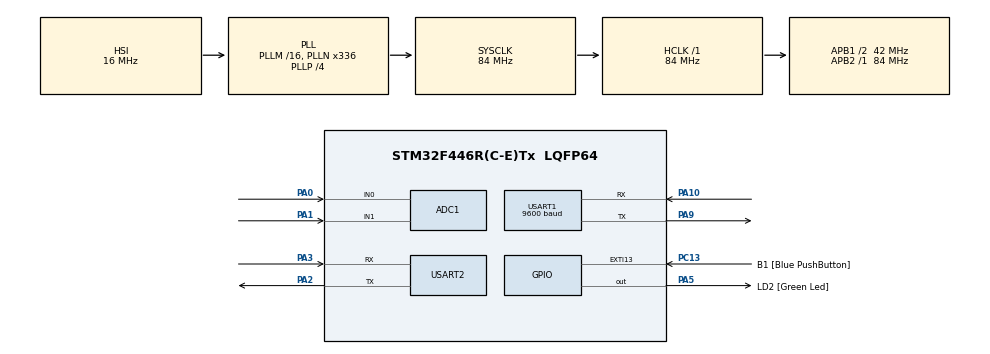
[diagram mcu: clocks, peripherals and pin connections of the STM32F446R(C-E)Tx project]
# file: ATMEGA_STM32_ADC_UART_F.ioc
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ADC1.Channel-0\#ChannelRegularConversion=ADC_CHANNEL_0
ADC1.Channel-1\#ChannelRegularConversion=ADC_CHANNEL_1
ADC1.ClockPrescaler=ADC_CLOCK_SYNC_PCLK_DIV8
ADC1.ContinuousConvMode=ENABLE
ADC1.DMAContinuousRequests=ENABLE
ADC1.EOCSelection=ADC_EOC_SEQ_CONV
ADC1.NbrOfConversion=2
ADC1.NbrOfConversionFlag=1
ADC1.Rank-0\#ChannelRegularConversion=1
ADC1.Rank-1\#ChannelRegularConversion=2
ADC1.SamplingTime-0\#ChannelRegularConversion=ADC_SAMPLETIME_3CYCLES
ADC1.SamplingTime-1\#ChannelRegularConversion=ADC_SAMPLETIME_3CYCLES
ADC1.master=1
Dma.ADC1.0.Direction=DMA_PERIPH_TO_MEMORY
Dma.ADC1.0.FIFOMode=DMA_FIFOMODE_DISABLE
Dma.ADC1.0.Instance=DMA2_Stream0
Dma.ADC1.0.MemDataAlignment=DMA_MDATAALIGN_HALFWORD
Dma.ADC1.0.MemInc=DMA_MINC_ENABLE
Dma.ADC1.0.Mode=DMA_CIRCULAR
Dma.ADC1.0.PeriphDataAlignment=DMA_PDATAALIGN_HALFWORD
Dma.ADC1.0.PeriphInc=DMA_PINC_DISABLE
Dma.ADC1.0.Priority=DMA_PRIORITY_LOW
Dma.Request0=ADC1
Mcu.Family=STM32F4
Mcu.Name=STM32F446R(C-E)Tx
Mcu.Package=LQFP64
NVIC.DMA2_Stream0_IRQn=true\:0\:0\:false\:false\:true\:false\:true\:true
NVIC.PriorityGroup=NVIC_PRIORITYGROUP_0
NVIC.USART1_IRQn=true\:0\:0\:false\:false\:true\:true\:true\:true
NVIC.USART2_IRQn=true\:0\:0\:false\:false\:true\:true\:true\:true
PA0-WKUP.Signal=ADCx_IN0
PA1.Signal=ADCx_IN1
PA10.Mode=Asynchronous
PA10.Signal=USART1_RX
PA13.GPIO_Label=TMS
PA13.Mode=Serial_Wire
PA13.Signal=SYS_JTMS-SWDIO
PA14.GPIO_Label=TCK
PA14.Mode=Serial_Wire
PA14.Signal=SYS_JTCK-SWCLK
PA2.Mode=Asynchronous
PA2.Signal=USART2_TX
PA3.Mode=Asynchronous
PA3.Signal=USART2_RX
PA5.GPIO_Label=LD2 [Green Led]
PA5.Signal=GPIO_Output
PA9.Mode=Asynchronous
PA9.Signal=USART1_TX
PB3.GPIO_Label=SWO
PB3.Signal=SYS_JTDO-SWO
PC13.GPIO_Label=B1 [Blue PushButton]
PC13.GPIO_ModeDefaultEXTI=GPIO_MODE_IT_FALLING
PC13.Signal=GPXTI13
PC14-OSC32_IN.Mode=LSE-External-Oscillator
PC14-OSC32_IN.Signal=RCC_OSC32_IN
PC15-OSC32_OUT.Mode=LSE-External-Oscillator
PC15-OSC32_OUT.Signal=RCC_OSC32_OUT
PH0-OSC_IN.Mode=HSE-External-Oscillator
PH0-OSC_IN.Signal=RCC_OSC_IN
PH1-OSC_OUT.Mode=HSE-External-Oscillator
PH1-OSC_OUT.Signal=RCC_OSC_OUT
ProjectManager.HeapSize=0x200
ProjectManager.StackSize=0x400
ProjectManager.TargetToolchain=STM32CubeIDE
RCC.48MHZClocksFreq_Value=84000000
RCC.AHBFreq_Value=84000000
RCC.APB1CLKDivider=RCC_HCLK_DIV2
RCC.APB1Freq_Value=42000000
RCC.APB1TimFreq_Value=84000000
RCC.APB2Freq_Value=84000000
RCC.APB2TimFreq_Value=84000000
RCC.CortexFreq_Value=84000000
RCC.FLatency-AdvancedSettings=FLASH_LATENCY_2
RCC.HCLKFreq_Value=84000000
RCC.HSE_VALUE=8000000
RCC.HSI_VALUE=16000000
RCC.PLLN=336
RCC.PLLP=RCC_PLLP_DIV4
RCC.SYSCLKFreq_VALUE=84000000
RCC.SYSCLKSource=RCC_SYSCLKSOURCE_PLLCLK
RCC.USBFreq_Value=168000000
RCC.VCOOutputFreq_Value=336000000
SH.ADCx_IN0.0=ADC1_IN0,IN0
SH.ADCx_IN1.0=ADC1_IN1,IN1
USART1.BaudRate=9600
USART1.VirtualMode=VM_ASYNC
USART2.VirtualMode=VM_ASYNC
board=NUCLEO-F446RE

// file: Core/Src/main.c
/* USER CODE BEGIN Header */
/**
  ******************************************************************************
  * @file           : main.c
  * @brief          : Main program body
  ******************************************************************************
  * @attention
  *
  * Copyright (c) 2026 STMicroelectronics.
  * All rights reserved.
  *
  * This software is licensed under terms that can be found in the LICENSE file
  * in the root directory of this software component.
  * If no LICENSE file comes with this software, it is provided AS-IS.
  *
  ******************************************************************************
  */
/* USER CODE END Header */
#include "main.h"

/* USER CODE BEGIN Includes */
#include "stdint.h"
#include <string.h>
#include <stdio.h>
/* USER CODE END Includes */

ADC_HandleTypeDef hadc1;
DMA_HandleTypeDef hdma_adc1;

UART_HandleTypeDef huart1;
UART_HandleTypeDef huart2;

/* USER CODE BEGIN PV */
char *Y;//variables
char *X;
uint16_t ADC_CONVERSION[2];
uint8_t temp;
uint8_t indx = 0;
uint8_t buffer[10];
/* USER CODE END PV */

void SystemClock_Config(void);
static void MX_GPIO_Init(void);
static void MX_DMA_Init(void);
static void MX_ADC1_Init(void);
static void MX_USART2_UART_Init(void);
static void MX_USART1_UART_Init(void);

int main(void)
{

  /* MCU Configuration--------------------------------------------------------*/

  /* Reset of all peripherals, Initializes the Flash interface and the Systick. */
  HAL_Init();

  /* Configure the system clock */
  SystemClock_Config();

  /* Initialize all configured peripherals */
  MX_GPIO_Init();
  MX_DMA_Init();
  MX_ADC1_Init();
  MX_USART2_UART_Init();
  MX_USART1_UART_Init();
  /* USER CODE BEGIN 2 */
  HAL_ADC_Start_DMA(&hadc1, (uint32_t *)ADC_CONVERSION, 2);
  HAL_UART_Receive_IT(&huart1, &temp , 1);
  /* USER CODE END 2 */

  /* Infinite loop */
  while (1)
  {

  }
}

void SystemClock_Config(void)
{
  RCC_OscInitTypeDef RCC_OscInitStruct = {0};
  RCC_ClkInitTypeDef RCC_ClkInitStruct = {0};

  /** Configure the main internal regulator output voltage
  */
  __HAL_RCC_PWR_CLK_ENABLE();
  __HAL_PWR_VOLTAGESCALING_CONFIG(PWR_REGULATOR_VOLTAGE_SCALE3);

  /** Initializes the RCC Oscillators according to the specified parameters
  * in the RCC_OscInitTypeDef structure.
  */
  RCC_OscInitStruct.OscillatorType = RCC_OSCILLATORTYPE_HSI;
  RCC_OscInitStruct.HSIState = RCC_HSI_ON;
  RCC_OscInitStruct.HSICalibrationValue = RCC_HSICALIBRATION_DEFAULT;
  RCC_OscInitStruct.PLL.PLLState = RCC_PLL_ON;
  RCC_OscInitStruct.PLL.PLLSource = RCC_PLLSOURCE_HSI;
  RCC_OscInitStruct.PLL.PLLM = 16;
  RCC_OscInitStruct.PLL.PLLN = 336;
  RCC_OscInitStruct.PLL.PLLP = RCC_PLLP_DIV4;
  RCC_OscInitStruct.PLL.PLLQ = 2;
  RCC_OscInitStruct.PLL.PLLR = 2;
  if (HAL_RCC_OscConfig(&RCC_OscInitStruct) != HAL_OK)
  {
    Error_Handler();
  }

  /** Initializes the CPU, AHB and APB buses clocks
  */
  RCC_ClkInitStruct.ClockType = RCC_CLOCKTYPE_HCLK|RCC_CLOCKTYPE_SYSCLK
                              |RCC_CLOCKTYPE_PCLK1|RCC_CLOCKTYPE_PCLK2;
  RCC_ClkInitStruct.SYSCLKSource = RCC_SYSCLKSOURCE_PLLCLK;
  RCC_ClkInitStruct.AHBCLKDivider = RCC_SYSCLK_DIV1;
  RCC_ClkInitStruct.APB1CLKDivider = RCC_HCLK_DIV2;
  RCC_ClkInitStruct.APB2CLKDivider = RCC_HCLK_DIV1;

  if (HAL_RCC_ClockConfig(&RCC_ClkInitStruct, FLASH_LATENCY_2) != HAL_OK)
  {
    Error_Handler();
  }
}

static void MX_ADC1_Init(void)
{

  ADC_ChannelConfTypeDef sConfig = {0};

  /** Configure the global features of the ADC (Clock, Resolution, Data Alignment and number of conversion)
  */
  hadc1.Instance = ADC1;
  hadc1.Init.ClockPrescaler = ADC_CLOCK_SYNC_PCLK_DIV8;
  hadc1.Init.Resolution = ADC_RESOLUTION_12B;
  hadc1.Init.ScanConvMode = ENABLE;
  hadc1.Init.ContinuousConvMode = ENABLE;
  hadc1.Init.DiscontinuousConvMode = DISABLE;
  hadc1.Init.ExternalTrigConvEdge = ADC_EXTERNALTRIGCONVEDGE_NONE;
  hadc1.Init.ExternalTrigConv = ADC_SOFTWARE_START;
  hadc1.Init.DataAlign = ADC_DATAALIGN_RIGHT;
  hadc1.Init.NbrOfConversion = 2;
  hadc1.Init.DMAContinuousRequests = ENABLE;
  hadc1.Init.EOCSelection = ADC_EOC_SEQ_CONV;
  if (HAL_ADC_Init(&hadc1) != HAL_OK)
  {
    Error_Handler();
  }

  /** Configure for the selected ADC regular channel its corresponding rank in the sequencer and its sample time.
  */
  sConfig.Channel = ADC_CHANNEL_0;
  sConfig.Rank = 1;
  sConfig.SamplingTime = ADC_SAMPLETIME_3CYCLES;
  if (HAL_ADC_ConfigChannel(&hadc1, &sConfig) != HAL_OK)
  {
    Error_Handler();
  }

  /** Configure for the selected ADC regular channel its corresponding rank in the sequencer and its sample time.
  */
  sConfig.Channel = ADC_CHANNEL_1;
  sConfig.Rank = 2;
  if (HAL_ADC_ConfigChannel(&hadc1, &sConfig) != HAL_OK)
  {
    Error_Handler();
  }

}

static void MX_USART1_UART_Init(void)
{

  huart1.Instance = USART1;
  huart1.Init.BaudRate = 9600;
  huart1.Init.WordLength = UART_WORDLENGTH_8B;
  huart1.Init.StopBits = UART_STOPBITS_1;
  huart1.Init.Parity = UART_PARITY_NONE;
  huart1.Init.Mode = UART_MODE_TX_RX;
  huart1.Init.HwFlowCtl = UART_HWCONTROL_NONE;
  huart1.Init.OverSampling = UART_OVERSAMPLING_16;
  if (HAL_UART_Init(&huart1) != HAL_OK)
  {
    Error_Handler();
  }

}

static void MX_USART2_UART_Init(void)
{

  huart2.Instance = USART2;
  huart2.Init.BaudRate = 115200;
  huart2.Init.WordLength = UART_WORDLENGTH_8B;
  huart2.Init.StopBits = UART_STOPBITS_1;
  huart2.Init.Parity = UART_PARITY_NONE;
  huart2.Init.Mode = UART_MODE_TX_RX;
  huart2.Init.HwFlowCtl = UART_HWCONTROL_NONE;
  huart2.Init.OverSampling = UART_OVERSAMPLING_16;
  if (HAL_UART_Init(&huart2) != HAL_OK)
  {
    Error_Handler();
  }

}

static void MX_DMA_Init(void)
{

  /* DMA controller clock enable */
  __HAL_RCC_DMA2_CLK_ENABLE();

  /* DMA interrupt init */
  /* DMA2_Stream0_IRQn interrupt configuration */
  HAL_NVIC_SetPriority(DMA2_Stream0_IRQn, 0, 0);
  HAL_NVIC_EnableIRQ(DMA2_Stream0_IRQn);

}

static void MX_GPIO_Init(void)
{
  GPIO_InitTypeDef GPIO_InitStruct = {0};

  /* GPIO Ports Clock Enable */
  __HAL_RCC_GPIOC_CLK_ENABLE();
  __HAL_RCC_GPIOH_CLK_ENABLE();
  __HAL_RCC_GPIOA_CLK_ENABLE();
  __HAL_RCC_GPIOB_CLK_ENABLE();

  /*Configure GPIO pin Output Level */
  HAL_GPIO_WritePin(LD2_GPIO_Port, LD2_Pin, GPIO_PIN_RESET);

  /*Configure GPIO pin : B1_Pin */
  GPIO_InitStruct.Pin = B1_Pin;
  GPIO_InitStruct.Mode = GPIO_MODE_IT_FALLING;
  GPIO_InitStruct.Pull = GPIO_NOPULL;
  HAL_GPIO_Init(B1_GPIO_Port, &GPIO_InitStruct);

  /*Configure GPIO pin : LD2_Pin */
  GPIO_InitStruct.Pin = LD2_Pin;
  GPIO_InitStruct.Mode = GPIO_MODE_OUTPUT_PP;
  GPIO_InitStruct.Pull = GPIO_NOPULL;
  GPIO_InitStruct.Speed = GPIO_SPEED_FREQ_LOW;
  HAL_GPIO_Init(LD2_GPIO_Port, &GPIO_InitStruct);

}

/* USER CODE BEGIN 4 */
void HAL_ADC_ConvCpltCallback(ADC_HandleTypeDef *hadc){
	if(ADC_CONVERSION[0] <= 2000){
	        Y = "Arriba";
	        char men[] ="STM arriba\r\n";
	        HAL_UART_Transmit(&huart2,(uint8_t*)men,strlen(men),1000);
	    }
	    else{
	        Y = "Abajo";
	        char men[] = "STM abajo\r\n";
	        HAL_UART_Transmit(&huart2,(uint8_t*)men,strlen(men),1000);
	    }

	    if(ADC_CONVERSION[1] <= 2000){
	        X = "Derecha";
	        char men[] ="STM derecha\r\n";
	        HAL_UART_Transmit(&huart2, (uint8_t*)men,strlen(men),1000);

	    }
	    else{
	        X = "Izquierda";
	        char men[] ="STM izquierda\r\n";
	        HAL_UART_Transmit(&huart2, (uint8_t*)men,strlen(men),1000);
	    }

}
void HAL_UART_RxCpltCallback(UART_HandleTypeDef *huart)
{
	if (huart->Instance == USART1) // Verifica que la interrupción sea del USART1
	    {
				if(temp == 'A'){
					HAL_UART_Transmit(&huart2, (uint8_t*)"ATMEGA ARRIBA\r\n", 14, 10);
				}
				else if(temp == 'B'){
					HAL_UART_Transmit(&huart2, (uint8_t*)"ATMEGA ABAJO\r\n", 13, 10);
				}
				else if(temp == 'C'){
					HAL_UART_Transmit(&huart2, (uint8_t*)"ATMEGA IZQUIERDA\r\n", 17, 10);
				}
				else if(temp == 'D'){
					HAL_UART_Transmit(&huart2, (uint8_t*)"ATMEGA DERECHA\r\n", 14, 10);
				}
				else if(temp == 'E'){
					HAL_UART_Transmit(&huart2, (uint8_t*)"ATMEGA A\r\n", 9, 10);
				}
				else if(temp == 'F'){
					HAL_UART_Transmit(&huart2, (uint8_t*)"ATMEGA B\r\n", 9, 10);
				}
				else {
					HAL_UART_Transmit(&huart2, (uint8_t*)"Comando desconocido\r\n", 21, 10);
				}
	        }
	 	 HAL_UART_Receive_IT(&huart1, &temp, 1);
	    }

/* USER CODE END 4 */

void Error_Handler(void)
{
  __disable_irq();
  while (1)
  {
  }
}
